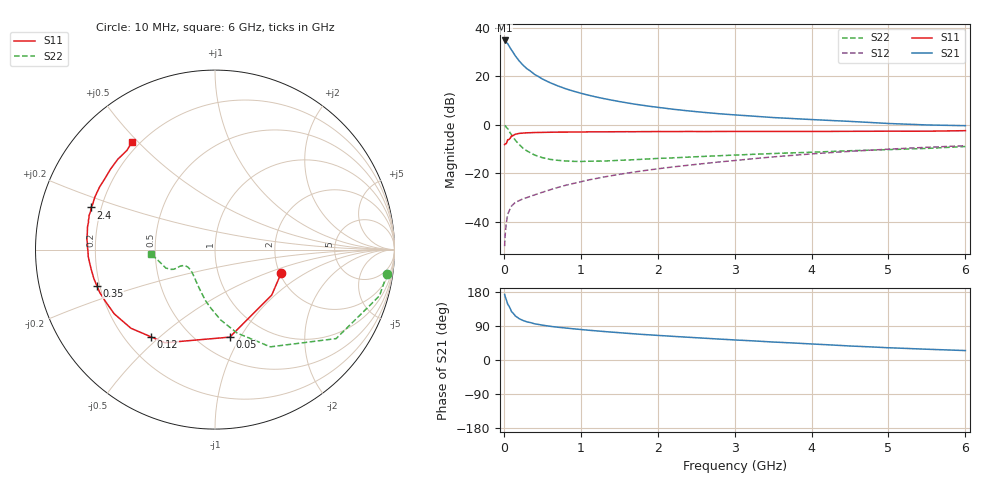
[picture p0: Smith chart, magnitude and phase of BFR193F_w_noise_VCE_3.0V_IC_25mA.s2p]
! Infineon Technologies  Discrete & RF Semiconductors
! BFR193F
! VCE =  3.0 V,  IC =  25 mA
! Common Emitter S-Parameters:  Jan 2017
# GHz  S  MA  R  50
!  f  S11  S21  S12  S22
! GHz  MAG  ANG  MAG  ANG  MAG  ANG  MAG  ANG
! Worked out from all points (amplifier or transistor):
!   77 points, 10 MHz to 6 GHz, reference 50 ohm
!   highest |S21| = 34.7 dB at 10 MHz (marker M1)
!   |S21| within 3 dB of that: start of sweep to 81.35 MHz
!   unconditionally stable (mu >= 1): 1.164 GHz to 2.758 GHz
!   at 130 MHz: K = 0.35, MSG = 30.9 dB, |S12| = -32.5 dB
!   at 2.2 GHz: K = 1.02, MAG = 10.9 dB, |S12| = -17.3 dB
!   at 6 GHz: K = 0.87, MSG = 4.1 dB, |S12| = -8.6 dB
!   lowest NFmin = 1.11 dB at 450 MHz
!   S11 on the Smith chart (normalised r, x): 10 MHz: 2.04, -0.62; 50 MHz: 0.70, -0.90; 120 MHz: 0.31, -0.47; 350 MHz: 0.19, -0.14; 2.4 GHz: 0.16, +0.16; 6 GHz: 0.17, +0.48
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0.01  0.3915 -19.3  54.17 173.1  0.0032 79.5  0.9691 -8.0
0.02  0.405 -38.7  52.64 165.7  0.0062 81.2  0.9517 -15.7
0.05  0.4945 -80.4  46.55 147.6  0.0144 64.2  0.8375 -36.3
0.1  0.5895 -118.3  34.42 127.4  0.0214 51.8  0.6238 -60.3
0.12  0.6025 -126.1  30.91 123.6  0.023 49.8  0.5623 -65.3
0.15  0.6415 -136.9  26 116.1  0.0254 47.2  0.4807 -75.2
0.2  0.6658 -147.5  20.51 109.0  0.0277 46.8  0.3923 -85.5
0.25  0.6756 -154.8  16.82 104.2  0.0302 46.8  0.3293 -93.7
0.3  0.6852 -159.6  14.25 100.7  0.0319 48.7  0.2905 -100.3
0.35  0.6884 -163.1  12.54 98.5  0.0341 50.5  0.2637 -104.9
0.4  0.694 -166.5  10.86 95.5  0.0363 52.1  0.239 -110.6
0.5  0.6982 -170.8  8.76 92.0  0.041 55.5  0.2113 -118.7
0.6  0.7027 -174.2  7.352 89.0  0.0461 57.8  0.1949 -125.4
0.8  0.7075 -178.9  5.534 84.5  0.0569 62.4  0.1805 -135.2
1.1  0.7153 175.7  4.063 78.6  0.0735 66.3  0.1782 -143.8
1.5  0.721 170.3  3.01 72.1  0.0958 68.8  0.1863 -150.3
2.1  0.7259 163.9  2.187 63.7  0.1303 70.1  0.2063 -154.1
2.4  0.7296 161.2  1.932 60.0  0.1476 70.1  0.2167 -154.7
3.1  0.7303 155.1  1.56 51.9  0.191 69.2  0.2422 -154.2
4.1  0.7306 146.1  1.26 41.3  0.2585 65.8  0.2768 -156.9
5.1  0.7388 136.0  1.049 31.6  0.3212 60.3  0.3123 -166.3
6  0.7579 127.4  0.96 24.9  0.372 55.1  0.3576 -175.9
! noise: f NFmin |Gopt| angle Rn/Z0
0.45  1.11  0.36  173  0.06
0.9  1.19  0.41  174  0.06
1.9  1.77  0.57  -169  0.07
2.4  2.06  0.61  -160  0.11
